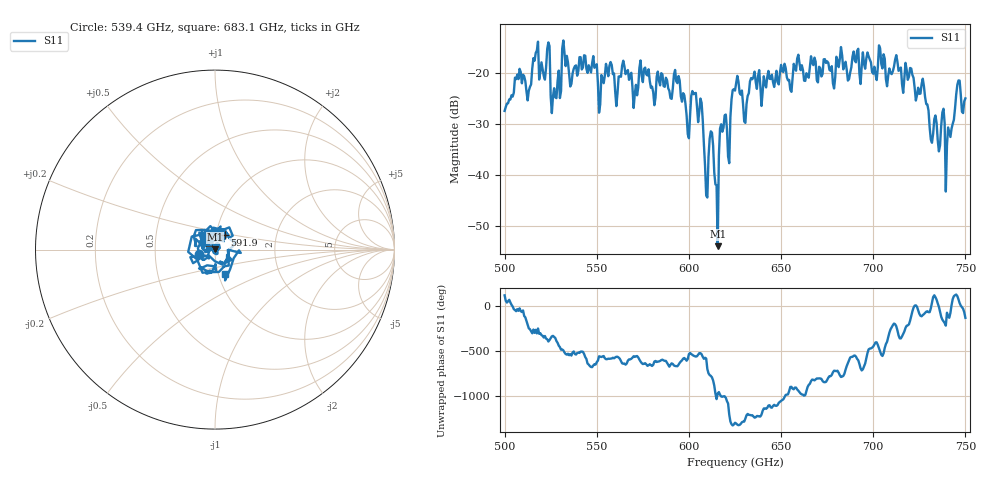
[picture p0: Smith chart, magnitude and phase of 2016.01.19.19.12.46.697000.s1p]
!Created with skrf (http://scikit-rf.org).
# GHz S RI R 50.0
!freq ReS11 ImS11
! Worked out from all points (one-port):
!   401 points, 500 GHz to 750 GHz, reference 50 ohm
!   lowest |S11| = -53.9 dB at 615.6 GHz (marker M1), VSWR 1.00, Z = 50 + j0.195 ohm
!   |S11| at or under -10 dB: start of sweep to end of sweep
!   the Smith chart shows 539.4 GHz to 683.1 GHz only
!   S11 on the Smith chart (normalised r, x): 539.4 GHz: 0.83, -0.04; 591.9 GHz: 1.10, +0.18; 683.1 GHz: 1.08, -0.31
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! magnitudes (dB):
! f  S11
! 500 GHz  -27.4
! 513.1 GHz  -23.4
! 516.9 GHz  -16.0
! 523.1 GHz  -15.2
! 526.2 GHz  -24.5
! 531.2 GHz  -15.2
! 539.4 GHz  -20.5
! 562.5 GHz  -20.6
! 591.9 GHz  -20.3
! 593.8 GHz  -22.0
! 599.4 GHz  -32.0
! 603.1 GHz  -24.0
! 606.9 GHz  -25.8
! 609.4 GHz  -44.0
! 611.9 GHz  -31.4
! 615.6 GHz  -53.9
! 618.1 GHz  -31.5
! 621.9 GHz  -37.7
! 625 GHz  -23.4
! 630.6 GHz  -29.7
! 634.4 GHz  -21.2
! 656.2 GHz  -20.9
! 683.1 GHz  -16.5
! 687.5 GHz  -19.9
! 718.8 GHz  -21.3
! 740.6 GHz  -30.6
! 745.6 GHz  -22.3
! 750 GHz  -24.9
